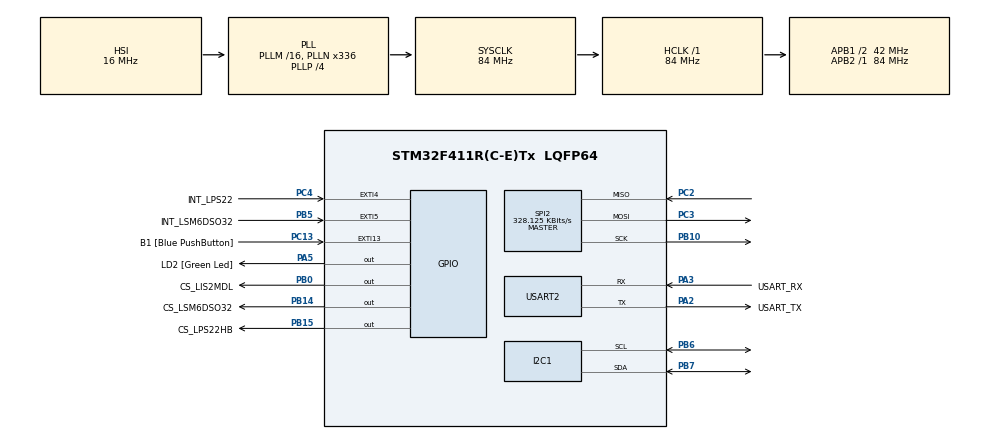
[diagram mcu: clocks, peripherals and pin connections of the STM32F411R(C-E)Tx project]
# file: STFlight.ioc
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Mcu.Family=STM32F4
Mcu.Name=STM32F411R(C-E)Tx
Mcu.Package=LQFP64
NVIC.EXTI4_IRQn=true\:0\:0\:false\:false\:true\:true\:true\:true
NVIC.EXTI9_5_IRQn=true\:0\:0\:false\:false\:true\:true\:true\:true
NVIC.PriorityGroup=NVIC_PRIORITYGROUP_0
NVIC.USART2_IRQn=true\:0\:0\:false\:false\:true\:true\:true\:true
PA13.GPIO_Label=TMS
PA13.Mode=Serial_Wire
PA13.Signal=SYS_JTMS-SWDIO
PA14.GPIO_Label=TCK
PA14.Mode=Serial_Wire
PA14.Signal=SYS_JTCK-SWCLK
PA2.GPIO_Label=USART_TX
PA2.Mode=Asynchronous
PA2.Signal=USART2_TX
PA3.GPIO_Label=USART_RX
PA3.Mode=Asynchronous
PA3.Signal=USART2_RX
PA5.GPIO_Label=LD2 [Green Led]
PA5.Signal=GPIO_Output
PB0.GPIO_Label=CS_LIS2MDL
PB0.GPIO_PuPd=GPIO_PULLUP
PB0.GPIO_Speed=GPIO_SPEED_FREQ_LOW
PB0.Signal=GPIO_Output
PB10.Mode=Full_Duplex_Master
PB10.Signal=SPI2_SCK
PB14.GPIO_Label=CS_LSM6DSO32
PB14.GPIO_PuPd=GPIO_PULLUP
PB14.GPIO_Speed=GPIO_SPEED_FREQ_LOW
PB14.Signal=GPIO_Output
PB15.GPIO_Label=CS_LPS22HB
PB15.GPIO_PuPd=GPIO_PULLUP
PB15.GPIO_Speed=GPIO_SPEED_FREQ_LOW
PB15.Signal=GPIO_Output
PB3.GPIO_Label=SWO
PB3.Signal=SYS_JTDO-SWO
PB5.GPIO_Label=INT_LSM6DSO32
PB5.Signal=GPXTI5
PB6.Mode=I2C
PB6.Signal=I2C1_SCL
PB7.Mode=I2C
PB7.Signal=I2C1_SDA
PC13-ANTI_TAMP.GPIO_Label=B1 [Blue PushButton]
PC13-ANTI_TAMP.GPIO_ModeDefaultEXTI=GPIO_MODE_IT_FALLING
PC13-ANTI_TAMP.Signal=GPXTI13
PC14-OSC32_IN.Mode=LSE-External-Oscillator
PC14-OSC32_IN.Signal=RCC_OSC32_IN
PC15-OSC32_OUT.Mode=LSE-External-Oscillator
PC15-OSC32_OUT.Signal=RCC_OSC32_OUT
PC2.Mode=Full_Duplex_Master
PC2.Signal=SPI2_MISO
PC3.Mode=Full_Duplex_Master
PC3.Signal=SPI2_MOSI
PC4.GPIO_Label=INT_LPS22
PC4.GPIO_ModeDefaultEXTI=GPIO_MODE_IT_RISING
PC4.GPIO_PuPd=GPIO_PULLDOWN
PC4.Signal=GPXTI4
PH0\ -\ OSC_IN.Mode=HSE-External-Clock-Source
PH0\ -\ OSC_IN.Signal=RCC_OSC_IN
PH1\ -\ OSC_OUT.Mode=HSE-External-Clock-Source
PH1\ -\ OSC_OUT.Signal=RCC_OSC_OUT
ProjectManager.HeapSize=0x200
ProjectManager.StackSize=0x400
ProjectManager.TargetToolchain=CMake
RCC.48MHZClocksFreq_Value=84000000
RCC.AHBFreq_Value=84000000
RCC.APB1CLKDivider=RCC_HCLK_DIV2
RCC.APB1Freq_Value=42000000
RCC.APB1TimFreq_Value=84000000
RCC.APB2Freq_Value=84000000
RCC.APB2TimFreq_Value=84000000
RCC.CortexFreq_Value=84000000
RCC.FLatency-AdvancedSettings=FLASH_LATENCY_2
RCC.HCLKFreq_Value=84000000
RCC.HSE_VALUE=8000000
RCC.HSI_VALUE=16000000
RCC.PLLN=336
RCC.PLLP=RCC_PLLP_DIV4
RCC.SYSCLKFreq_VALUE=84000000
RCC.SYSCLKSource=RCC_SYSCLKSOURCE_PLLCLK
RCC.VCOOutputFreq_Value=336000000
SPI2.BaudRatePrescaler=SPI_BAUDRATEPRESCALER_128
SPI2.CLKPhase=SPI_PHASE_1EDGE
SPI2.CLKPolarity=SPI_POLARITY_LOW
SPI2.CalculateBaudRate=328.125 KBits/s
SPI2.Direction=SPI_DIRECTION_2LINES
SPI2.Mode=SPI_MODE_MASTER
SPI2.VirtualType=VM_MASTER
USART2.VirtualMode=VM_ASYNC
board=NUCLEO-F411RE

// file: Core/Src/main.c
/* USER CODE BEGIN Header */
/**
 ******************************************************************************
 * @file           : main.c
 * @brief          : Main program body
 ******************************************************************************
 * @attention
 *
 * Copyright (c) 2025 STMicroelectronics.
 * All rights reserved.
 *
 * This software is licensed under terms that can be found in the LICENSE file
 * in the root directory of this software component.
 * If no LICENSE file comes with this software, it is provided AS-IS.
 *
 ******************************************************************************
 */
/* USER CODE END Header */
#include "main.h"

/* USER CODE BEGIN Includes */
#include "app.h"
#include <stdio.h>

/* USER CODE END Includes */

I2C_HandleTypeDef hi2c1;

SPI_HandleTypeDef hspi2;

UART_HandleTypeDef huart2;

void SystemClock_Config(void);
static void MX_GPIO_Init(void);
static void MX_SPI2_Init(void);
static void MX_USART2_UART_Init(void);
static void MX_I2C1_Init(void);

/* USER CODE BEGIN 0 */
volatile bool lps22hb_data_ready = false;
volatile bool lsm6dso32_data_ready = false;

/* USER CODE END 0 */

int main(void) {

  /* MCU Configuration--------------------------------------------------------*/

  /* Reset of all peripherals, Initializes the Flash interface and the Systick.
   */
  HAL_Init();

  /* Configure the system clock */
  SystemClock_Config();

  /* Initialize all configured peripherals */
  MX_GPIO_Init();
  MX_SPI2_Init();
  MX_USART2_UART_Init();
  MX_I2C1_Init();
  /* USER CODE BEGIN 2 */

  app_init();

  /* USER CODE END 2 */

  /* Infinite loop */
  /* USER CODE BEGIN WHILE */

  while (1) {

    app_loop();

    /* USER CODE END WHILE */

  }
}

void SystemClock_Config(void) {
  RCC_OscInitTypeDef RCC_OscInitStruct = {0};
  RCC_ClkInitTypeDef RCC_ClkInitStruct = {0};

  /** Configure the main internal regulator output voltage
   */
  __HAL_RCC_PWR_CLK_ENABLE();
  __HAL_PWR_VOLTAGESCALING_CONFIG(PWR_REGULATOR_VOLTAGE_SCALE1);

  /** Initializes the RCC Oscillators according to the specified parameters
   * in the RCC_OscInitTypeDef structure.
   */
  RCC_OscInitStruct.OscillatorType = RCC_OSCILLATORTYPE_HSI;
  RCC_OscInitStruct.HSIState = RCC_HSI_ON;
  RCC_OscInitStruct.HSICalibrationValue = RCC_HSICALIBRATION_DEFAULT;
  RCC_OscInitStruct.PLL.PLLState = RCC_PLL_ON;
  RCC_OscInitStruct.PLL.PLLSource = RCC_PLLSOURCE_HSI;
  RCC_OscInitStruct.PLL.PLLM = 16;
  RCC_OscInitStruct.PLL.PLLN = 336;
  RCC_OscInitStruct.PLL.PLLP = RCC_PLLP_DIV4;
  RCC_OscInitStruct.PLL.PLLQ = 4;
  if (HAL_RCC_OscConfig(&RCC_OscInitStruct) != HAL_OK) {
    Error_Handler();
  }

  /** Initializes the CPU, AHB and APB buses clocks
   */
  RCC_ClkInitStruct.ClockType = RCC_CLOCKTYPE_HCLK | RCC_CLOCKTYPE_SYSCLK |
                                RCC_CLOCKTYPE_PCLK1 | RCC_CLOCKTYPE_PCLK2;
  RCC_ClkInitStruct.SYSCLKSource = RCC_SYSCLKSOURCE_PLLCLK;
  RCC_ClkInitStruct.AHBCLKDivider = RCC_SYSCLK_DIV1;
  RCC_ClkInitStruct.APB1CLKDivider = RCC_HCLK_DIV2;
  RCC_ClkInitStruct.APB2CLKDivider = RCC_HCLK_DIV1;

  if (HAL_RCC_ClockConfig(&RCC_ClkInitStruct, FLASH_LATENCY_2) != HAL_OK) {
    Error_Handler();
  }
}

static void MX_I2C1_Init(void) {

  hi2c1.Instance = I2C1;
  hi2c1.Init.ClockSpeed = 100000;
  hi2c1.Init.DutyCycle = I2C_DUTYCYCLE_2;
  hi2c1.Init.OwnAddress1 = 0;
  hi2c1.Init.AddressingMode = I2C_ADDRESSINGMODE_7BIT;
  hi2c1.Init.DualAddressMode = I2C_DUALADDRESS_DISABLE;
  hi2c1.Init.OwnAddress2 = 0;
  hi2c1.Init.GeneralCallMode = I2C_GENERALCALL_DISABLE;
  hi2c1.Init.NoStretchMode = I2C_NOSTRETCH_DISABLE;
  if (HAL_I2C_Init(&hi2c1) != HAL_OK) {
    Error_Handler();
  }
}

static void MX_SPI2_Init(void) {

  /* SPI2 parameter configuration*/
  hspi2.Instance = SPI2;
  hspi2.Init.Mode = SPI_MODE_MASTER;
  hspi2.Init.Direction = SPI_DIRECTION_2LINES;
  hspi2.Init.DataSize = SPI_DATASIZE_8BIT;
  hspi2.Init.CLKPolarity = SPI_POLARITY_LOW;
  hspi2.Init.CLKPhase = SPI_PHASE_1EDGE;
  hspi2.Init.NSS = SPI_NSS_SOFT;
  hspi2.Init.BaudRatePrescaler = SPI_BAUDRATEPRESCALER_128;
  hspi2.Init.FirstBit = SPI_FIRSTBIT_MSB;
  hspi2.Init.TIMode = SPI_TIMODE_DISABLE;
  hspi2.Init.CRCCalculation = SPI_CRCCALCULATION_DISABLE;
  hspi2.Init.CRCPolynomial = 10;
  if (HAL_SPI_Init(&hspi2) != HAL_OK) {
    Error_Handler();
  }
}

static void MX_USART2_UART_Init(void) {

  huart2.Instance = USART2;
  huart2.Init.BaudRate = 115200;
  huart2.Init.WordLength = UART_WORDLENGTH_8B;
  huart2.Init.StopBits = UART_STOPBITS_1;
  huart2.Init.Parity = UART_PARITY_NONE;
  huart2.Init.Mode = UART_MODE_TX_RX;
  huart2.Init.HwFlowCtl = UART_HWCONTROL_NONE;
  huart2.Init.OverSampling = UART_OVERSAMPLING_16;
  if (HAL_UART_Init(&huart2) != HAL_OK) {
    Error_Handler();
  }
}

static void MX_GPIO_Init(void) {
  GPIO_InitTypeDef GPIO_InitStruct = {0};

  /* GPIO Ports Clock Enable */
  __HAL_RCC_GPIOC_CLK_ENABLE();
  __HAL_RCC_GPIOH_CLK_ENABLE();
  __HAL_RCC_GPIOA_CLK_ENABLE();
  __HAL_RCC_GPIOB_CLK_ENABLE();

  /*Configure GPIO pin Output Level */
  HAL_GPIO_WritePin(LD2_GPIO_Port, LD2_Pin, GPIO_PIN_RESET);

  /*Configure GPIO pin Output Level */
  HAL_GPIO_WritePin(GPIOB, CS_LIS2MDL_Pin | CS_LSM6DSO32_Pin | CS_LPS22HB_Pin,
                    GPIO_PIN_RESET);

  /*Configure GPIO pin : B1_Pin */
  GPIO_InitStruct.Pin = B1_Pin;
  GPIO_InitStruct.Mode = GPIO_MODE_IT_FALLING;
  GPIO_InitStruct.Pull = GPIO_NOPULL;
  HAL_GPIO_Init(B1_GPIO_Port, &GPIO_InitStruct);

  /*Configure GPIO pin : LD2_Pin */
  GPIO_InitStruct.Pin = LD2_Pin;
  GPIO_InitStruct.Mode = GPIO_MODE_OUTPUT_PP;
  GPIO_InitStruct.Pull = GPIO_NOPULL;
  GPIO_InitStruct.Speed = GPIO_SPEED_FREQ_LOW;
  HAL_GPIO_Init(LD2_GPIO_Port, &GPIO_InitStruct);

  /*Configure GPIO pin : INT_LPS22_Pin */
  GPIO_InitStruct.Pin = INT_LPS22_Pin;
  GPIO_InitStruct.Mode = GPIO_MODE_IT_RISING;
  GPIO_InitStruct.Pull = GPIO_PULLDOWN;
  HAL_GPIO_Init(INT_LPS22_GPIO_Port, &GPIO_InitStruct);

  /*Configure GPIO pins : CS_LIS2MDL_Pin CS_LSM6DSO32_Pin CS_LPS22HB_Pin */
  GPIO_InitStruct.Pin = CS_LIS2MDL_Pin | CS_LSM6DSO32_Pin | CS_LPS22HB_Pin;
  GPIO_InitStruct.Mode = GPIO_MODE_OUTPUT_PP;
  GPIO_InitStruct.Pull = GPIO_PULLUP;
  GPIO_InitStruct.Speed = GPIO_SPEED_FREQ_LOW;
  HAL_GPIO_Init(GPIOB, &GPIO_InitStruct);

  /*Configure GPIO pin : INT_LSM6DSO32_Pin */
  GPIO_InitStruct.Pin = INT_LSM6DSO32_Pin;
  GPIO_InitStruct.Mode = GPIO_MODE_IT_RISING;
  GPIO_InitStruct.Pull = GPIO_NOPULL;
  HAL_GPIO_Init(INT_LSM6DSO32_GPIO_Port, &GPIO_InitStruct);

  /* EXTI interrupt init*/
  HAL_NVIC_SetPriority(EXTI4_IRQn, 0, 0);
  HAL_NVIC_EnableIRQ(EXTI4_IRQn);

  HAL_NVIC_SetPriority(EXTI9_5_IRQn, 0, 0);
  HAL_NVIC_EnableIRQ(EXTI9_5_IRQn);

}

/* USER CODE BEGIN 4 */
static char buffer[128];
void HAL_GPIO_EXTI_Callback(uint16_t GPIO_Pin) {
  HAL_GPIO_TogglePin(LD2_GPIO_Port, LD2_Pin);

  if (GPIO_Pin == INT_LPS22_Pin) {
    lps22hb_data_ready = true;
  }
  if (GPIO_Pin == INT_LSM6DSO32_Pin) {
    lsm6dso32_data_ready = true;
  }
}

void HAL_UART_RxCpltCallback(UART_HandleTypeDef *huart) {
  app_hil_uart_rx_callback(huart);
}

/* USER CODE END 4 */

void Error_Handler(void) {
  __disable_irq();
  while (1) {
  }
}
#ifdef USE_FULL_ASSERT
/**
 * @brief  Reports the name of the source file and the source line number
 *         where the assert_param error has occurred.
 * @param  file: pointer to the source file name
 * @param  line: assert_param error line source number
 * @retval None
 */
void assert_failed(uint8_t *file, uint32_t line) {
  /* USER CODE BEGIN 6 */
  /* User can add his own implementation to report the file name and line
     number, ex: printf("Wrong parameters value: file %s on line %d\r\n", file,
     line) */
  /* USER CODE END 6 */
}
#endif /* USE_FULL_ASSERT */
